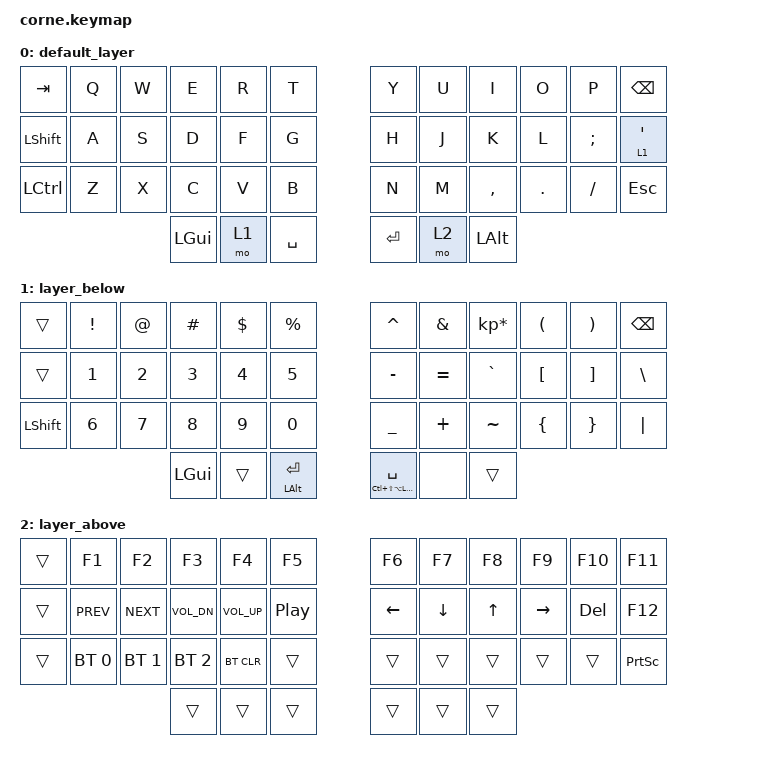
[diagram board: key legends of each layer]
/*
 * Copyright (c) 2020 The ZMK Contributors
 *
 * SPDX-License-Identifier: MIT
 */

#include <behaviors.dtsi>
#include <dt-bindings/zmk/bt.h>
#include <dt-bindings/zmk/keys.h>

/ {
    behaviors {
        tp: tap_preferred {
            compatible = "zmk,behavior-hold-tap";
            label = "TAP_PREFERRED";
            #binding-cells = <2>;
            tapping-term-ms = <150>;
            quick-tap-ms = <0>;
            flavor = "tap-preferred";
            bindings = <&kp>, <&kp>;
        };
    };

    keymap {
        compatible = "zmk,keymap";

        default_layer {
            // -----------------------------------------------------------------------------------------
            // | TAB  |  Q  |  W  |  E  |  R  |    T    |   |  Y  |  U   |  I  |  O  |  P  | ESC |
            // | CTRL |  A  |  S  |  D  |  F  |    G    |   |  H  |  J   |  K  |  L  |  ;  |  LWR/'   |
            // | SHFT |  Z  |  X  |  C  |  V  |    B    |   |  N  |  M   |  ,  |  .  |  /  | SHFT |
            //                    | GUI | LWR | ALT/ENT |   | HYPER/SPC | BKSP  | RSE |

            bindings = <
&kp TAB           &kp Q  &kp W  &kp E     &kp R  &kp T        &kp Y      &kp U  &kp I         &kp O    &kp P     &kp BACKSPACE
&kp LEFT_SHIFT    &kp A  &kp S  &kp D     &kp F  &kp G        &kp H      &kp J  &kp K         &kp L    &kp SEMI  &lt 1 SQT
&kp LEFT_CONTROL  &kp Z  &kp X  &kp C     &kp V  &kp B        &kp N      &kp M  &kp COMMA     &kp DOT  &kp FSLH  &kp ESC
                                &kp LGUI  &mo 1  &kp SPACE    &kp ENTER  &mo 2  &kp LEFT_ALT
            >;
        };

        layer_below {
            // -----------------------------------------------------------------------------------------
            // |      |  !  |  @  |  #  |  $  |    %     |   |  ^  |  &  |  *  |  (  |  )  |   \   |
            // |      |  1  |  2  |  3  |  4  |    5     |   |  -  |  =  |  `  |  [  |  ]  |  "|"  |
            // | SHFT |  6  |  7  |  8  |  9  |    0     |   |  _  |  +  |  ~  |  {  |  }  | RSHFT |
            //                     | GUI |     | ALT/ENT |   | HYPER/SPACE | BKSP |    |

            bindings = <
&trans     &kp EXCL  &kp AT  &kp HASH  &kp DLLR  &kp PRCNT       &kp CARET                   &kp AMPS   &kp KP_MULTIPLY  &kp LPAR  &kp RPAR  &kp BACKSPACE
&trans     &kp N1    &kp N2  &kp N3    &kp N4    &kp N5          &kp MINUS                   &kp EQUAL  &kp GRAVE        &kp LBKT  &kp RBKT  &kp BACKSLASH
&kp LSHFT  &kp N6    &kp N7  &kp N8    &kp N9    &kp N0          &kp UNDER                   &kp PLUS   &kp TILDE        &kp LBRC  &kp RBRC  &kp PIPE
                             &kp LGUI  &trans    &tp LALT RET    &tp LC(LS(LA(LGUI))) SPACE  &none      &trans
            >;
        };

        layer_above {
            // -----------------------------------------------------------------------------------------
            // |       |  F1  |  F2  |  F3  |  F4  |  F5 |            |  F6  |  F7  |  F8  |  F9  |  F10  |   |
            // |       | Prev | Next | Vol - | Vol + | Play/Pause |   |      | LFT | DWN |  UP | RGT |     |     |
            // | BTCLR | BT1 | BT2 | BT3 | BT4 | BT5 |   |            |     |     |     |     |     |     |
            //                    |     |     |    |                  |     |     |     |

            bindings = <
&trans  &kp F1        &kp F2        &kp F3        &kp F4        &kp F5      &kp F6    &kp F7    &kp F8  &kp F9     &kp F10  &kp F11
&trans  &kp C_PREV    &kp C_NEXT    &kp C_VOL_DN  &kp C_VOL_UP  &kp C_PP    &kp LEFT  &kp DOWN  &kp UP  &kp RIGHT  &kp DEL  &kp F12
&trans  &bt BT_SEL 0  &bt BT_SEL 1  &bt BT_SEL 2  &bt BT_CLR    &trans      &trans    &trans    &trans  &trans     &trans   &kp PRINTSCREEN
                                    &trans        &trans        &trans      &trans    &trans    &trans
            >;
        };
    };
};
